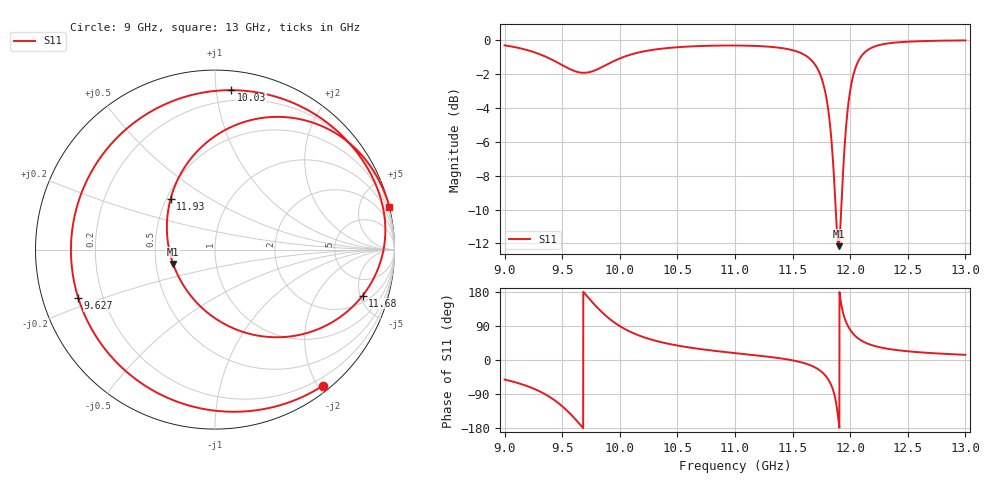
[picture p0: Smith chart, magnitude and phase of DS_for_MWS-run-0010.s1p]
! TOUCHSTONE file generated by CST DESIGN STUDIO
! Date and time: Tue Feb  4 13:43:05 2025
! Project name: C:\Work\MatlabApps\UnitCellOptimizationMatlab\CST\unitcell.cst
! Tree item: Tasks\Sweep1\SPara1\S-Parameters
! Header version: 2024
! Port assignment regex: !\s*Touchstone port\s*([0-9]+)\s*=\s*(CST MWS port|CST DES external port|CST DES block port)\s*(.+)\s* \(\"(.*)\"\)(\s*mode\s*([0-9]+))?.*
! Touchstone port assignment:
! Touchstone port 1 = CST DES external port 1 ("")
# GHz S MA R 50
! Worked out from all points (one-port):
!   4001 points, 9 GHz to 13 GHz, reference 50 ohm
!   lowest |S11| = -12.2 dB at 11.9 GHz (marker M1), VSWR 1.65, Z = 30.8 - j5.28 ohm
!   |S11| at or under -10 dB: 11.87444 GHz to 11.92218 GHz (47.74 MHz wide, 0.401 % of centre)
!   S11 on the Smith chart (normalised r, x): 9 GHz: 0.09, -2.06; 9.627 GHz: 0.11, -0.17; 10.03 GHz: 0.13, +1.10; 11.68 GHz: 2.66, -5.28; 11.93 GHz: 0.52, +0.35; 13 GHz: -0.01, +8.33
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9  0.9672 -51.7
9.169  0.9423 -66.0
9.322  0.9058 -85.4
9.418  0.8752 -102.8
9.5  0.8457 -122.0
9.627  0.8082 -160.6
9.722  0.8043 166.1
9.829  0.8291 130.8
9.91  0.8565 108.8
10  0.8849 89.4
10.029  0.8929 84.2
10.234  0.9321 57.5
10.5  0.9552 38.2
11  0.9664 18.2
11.5  0.9361 -0.9
11.68  0.8617 -17.3
11.761  0.7555 -33.5
11.825  0.5628 -59.6
11.862  0.3803 -90.5
11.899  0.2464 -160.9
11.933  0.3766 131.0
11.966  0.5655 99.0
12  0.7115 79.5
12.074  0.8734 55.9
12.164  0.9431 41.7
12.295  0.9763 31.2
12.5  0.9918 23.0
13  1 13.7
